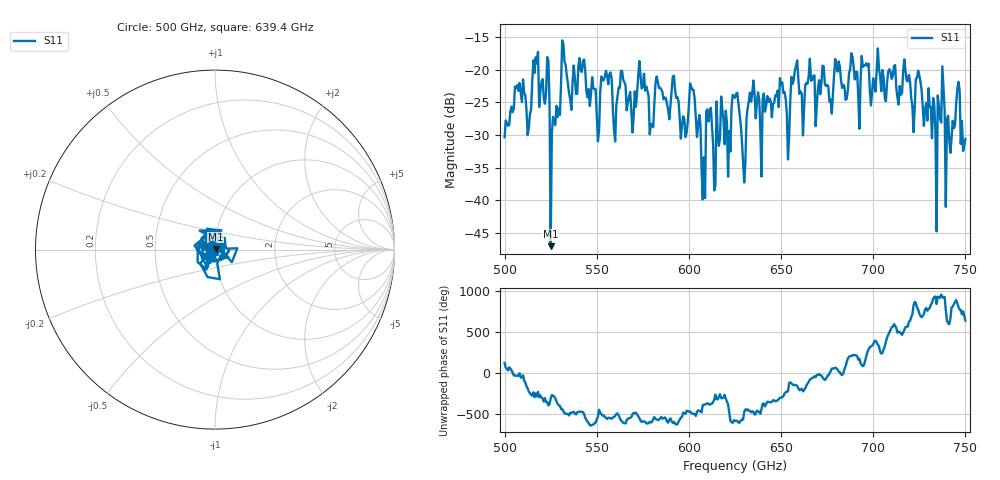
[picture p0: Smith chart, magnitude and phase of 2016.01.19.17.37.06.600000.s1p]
!Created with skrf (http://scikit-rf.org).
# GHz S RI R 50.0
!freq ReS11 ImS11
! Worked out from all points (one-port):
!   401 points, 500 GHz to 750 GHz, reference 50 ohm
!   lowest |S11| = -47.0 dB at 525 GHz (marker M1), VSWR 1.01, Z = 50.3 + j0.323 ohm
!   |S11| at or under -10 dB: start of sweep to end of sweep
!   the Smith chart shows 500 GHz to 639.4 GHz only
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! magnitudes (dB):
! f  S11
! 500 GHz  -30.4
! 506.9 GHz  -22.4
! 513.1 GHz  -28.9
! 516.9 GHz  -18.1
! 523.1 GHz  -18.1
! 525 GHz  -47.0
! 531.2 GHz  -15.5
! 550.6 GHz  -31.0
! 562.5 GHz  -22.8
! 593.8 GHz  -24.2
! 601.9 GHz  -23.1
! 607.5 GHz  -39.9
! 610.6 GHz  -27.9
! 615 GHz  -24.9
! 625 GHz  -24.3
! 629.4 GHz  -34.1
! 633.8 GHz  -24.9
! 640 GHz  -24.5
! 650.6 GHz  -22.0
! 653.8 GHz  -33.8
! 656.2 GHz  -22.2
! 687.5 GHz  -20.0
! 718.8 GHz  -21.8
! 733.1 GHz  -25.5
! 737.5 GHz  -19.5
! 740.6 GHz  -27.1
! 745.6 GHz  -23.0
! 750 GHz  -30.6
